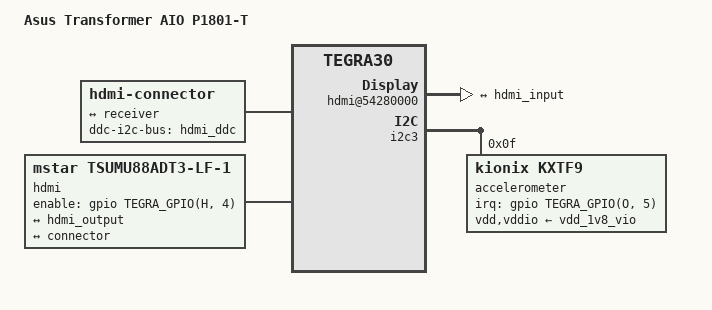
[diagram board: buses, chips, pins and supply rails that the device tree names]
// SPDX-License-Identifier: GPL-2.0
/dts-v1/;

#include "tegra30-asus-transformer-common.dtsi"

/ {
	model = "Asus Transformer AIO P1801-T";
	compatible = "asus,p1801-t", "nvidia,tegra30";

	aliases {
		display0 = &hdmi;
		/delete-property/ display1;
	};

	host1x@50000000 {
		hdmi@54280000 {
			clocks = <&tegra_car TEGRA30_CLK_HDMI>,
				 <&tegra_car TEGRA30_CLK_PLL_D_OUT0>;
				 
			status = "okay";

			hdmi-supply = <&hdmi_5v0_sys>;
			pll-supply = <&vdd_1v8_vio>;
			vdd-supply = <&vdd_3v3_sys>;

			port@0 {
				hdmi_output: endpoint {
					remote-endpoint = <&hdmi_input>;
				};
			};
		};
	};

	gpio@6000d000 {
		init-lpm-in-hog {
			gpios = <TEGRA_GPIO(B, 1) GPIO_ACTIVE_HIGH>;
		};

		/delete-node/ usb-charge-limit-hog;
	};

	pinmux@70000868 {
		pinctrl-names = "default";
		pinctrl-0 = <&state_default>;

		state_default: pinmux {
			lcd_pwr2_pc6 {
				nvidia,pins = "lcd_pwr2_pc6",
						"lcd_dc1_pd2";
				nvidia,function = "displaya";
				nvidia,pull = <TEGRA_PIN_PULL_NONE>;
				nvidia,tristate = <TEGRA_PIN_ENABLE>;
				nvidia,enable-input = <TEGRA_PIN_ENABLE>;
			};
			pbb3 {
				nvidia,pins = "pbb3";
				nvidia,function = "vgp3";
				nvidia,pull = <TEGRA_PIN_PULL_NONE>;
				nvidia,tristate = <TEGRA_PIN_DISABLE>;
				nvidia,enable-input = <TEGRA_PIN_ENABLE>;
			};
			pbb7 {
				nvidia,pins = "pbb7";
				nvidia,function = "i2s4";
				nvidia,pull = <TEGRA_PIN_PULL_NONE>;
				nvidia,tristate = <TEGRA_PIN_DISABLE>;
				nvidia,enable-input = <TEGRA_PIN_ENABLE>;
			};
			kb_row7_pr7 {
				nvidia,pins = "kb_row7_pr7";
				nvidia,function = "kbc";
				nvidia,pull = <TEGRA_PIN_PULL_UP>;
				nvidia,tristate = <TEGRA_PIN_DISABLE>;
				nvidia,enable-input = <TEGRA_PIN_ENABLE>;
			};
			gmi_cs4_n_pk2 {
				nvidia,pins = "gmi_cs4_n_pk2";
				nvidia,function = "gmi";
				nvidia,pull = <TEGRA_PIN_PULL_NONE>;
				nvidia,tristate = <TEGRA_PIN_ENABLE>;
				nvidia,enable-input = <TEGRA_PIN_ENABLE>;
			};

			/* P1801 specific pinmux */
			key_mode {
				nvidia,pins = "gmi_cs4_n_pk2";
				nvidia,function = "rsvd1";
				nvidia,pull = <TEGRA_PIN_PULL_UP>;
				nvidia,tristate = <TEGRA_PIN_ENABLE>;
				nvidia,enable-input = <TEGRA_PIN_ENABLE>;
			};
			splashtop {
				nvidia,pins = "gmi_cs6_n_pi3";
				nvidia,function = "nand_alt";
				nvidia,pull = <TEGRA_PIN_PULL_NONE>;
				nvidia,tristate = <TEGRA_PIN_DISABLE>;
				nvidia,enable-input = <TEGRA_PIN_DISABLE>;
			};
			w8_detect {
				nvidia,pins = "gmi_cs7_n_pi6";
				nvidia,function = "nand_alt";
				nvidia,pull = <TEGRA_PIN_PULL_UP>;
				nvidia,tristate = <TEGRA_PIN_ENABLE>;
				nvidia,enable-input = <TEGRA_PIN_ENABLE>;
			};
			tp_vendor {
				nvidia,pins = "kb_row6_pr6";
				nvidia,function = "kbc";
				nvidia,pull = <TEGRA_PIN_PULL_UP>;
				nvidia,tristate = <TEGRA_PIN_DISABLE>;
				nvidia,enable-input = <TEGRA_PIN_ENABLE>;
			};
			tp_power {
				nvidia,pins = "kb_row8_ps0";
				nvidia,function = "kbc";
				nvidia,pull = <TEGRA_PIN_PULL_NONE>;
				nvidia,tristate = <TEGRA_PIN_DISABLE>;
				nvidia,enable-input = <TEGRA_PIN_DISABLE>;
			};
		};
	};

	uartc: serial@70006200 {
		/* Azurewave AW-AH691 BCM43241B1 */
	};

	i2c1: i2c@7000c000 {
		clock-frequency = <280000>;
	};

	/delete-node/ i2c-dock;

	i2c3: i2c@7000c500 {
		accelerometer@f {
			compatible = "kionix,kxtf9";
			reg = <0x0f>;

			interrupt-parent = <&gpio>;
			interrupts = <TEGRA_GPIO(O, 5) IRQ_TYPE_EDGE_RISING>;

			vdd-supply = <&vdd_1v8_vio>;
			vddio-supply = <&vdd_1v8_vio>;

			mount-matrix =   "0", "-1",  "0",
					"-1",  "0",  "0",
					 "0",  "0", "-1";
		};

		/delete-node/ light-sensor@1c;
		/delete-node/ gyroscope@68;
	};

	hdmi_ddc: i2c@7000c700 {
		clock-frequency = <33000>;
	};

    connector {
        compatible = "hdmi-connector";
        label = "hdmi";

		ddc-i2c-bus = <&hdmi_ddc>;
        type = "a";

        port {
            connector: endpoint {
                remote-endpoint = <&receiver>;
            };
        };
    };

	hdmi: bridge {
		compatible = "mstar,tsumu88adt3-lf-1";
		enable-gpios = <&gpio TEGRA_GPIO(H, 4) GPIO_ACTIVE_HIGH>;

		ports {
			#address-cells = <1>;
			#size-cells = <0>;

			port@0 {
				reg = <0>;
				hdmi_input: endpoint {
					remote-endpoint = <&hdmi_output>;
				};
			};

			port@1 {
				reg = <1>;
				receiver: endpoint {
					remote-endpoint = <&connector>;
				};
			};
		};

	pad_battery: pad-battery {
		compatible = "simple-battery";
		charge-full-design-microamp-hours = <5136000>;
		energy-full-design-microwatt-hours = <38000000>;
		operating-range-celsius = <0 45>;
	};

	pad-keys {
		mode {
			label = "Mode";
			gpios = <&gpio TEGRA_GPIO(K, 2) GPIO_ACTIVE_LOW>;
			linux,code = <KEY_MODE>;
			debounce-interval = <10>;
			wakeup-event-action = <EV_ACT_ASSERTED>;
			wakeup-source;
		};
	};

	/delete-node/ regulator-panel;
	/delete-node/ regulator-bl;
	/delete-node/ backlight;
};
